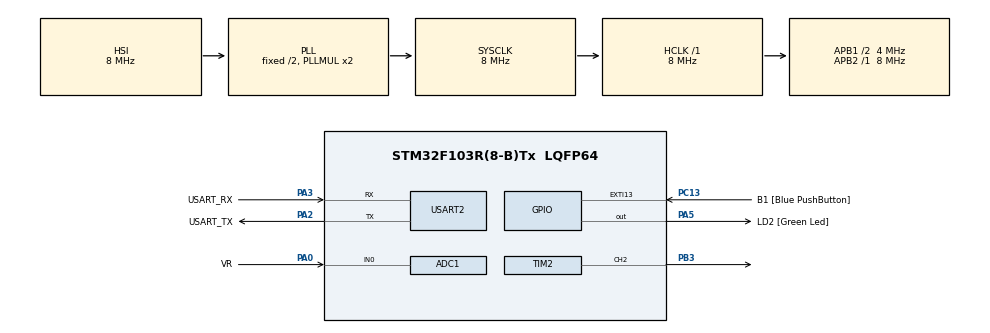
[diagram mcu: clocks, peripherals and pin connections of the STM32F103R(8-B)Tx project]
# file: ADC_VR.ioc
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ADC1.Channel-2\#ChannelRegularConversion=ADC_CHANNEL_0
ADC1.ContinuousConvMode=ENABLE
ADC1.NbrOfConversionFlag=1
ADC1.Rank-2\#ChannelRegularConversion=1
ADC1.SamplingTime-2\#ChannelRegularConversion=ADC_SAMPLETIME_13CYCLES_5
ADC1.master=1
Mcu.Family=STM32F1
Mcu.Name=STM32F103R(8-B)Tx
Mcu.Package=LQFP64
NVIC.EXTI15_10_IRQn=true\:0\:0\:false\:false\:true\:true\:true\:true
NVIC.PriorityGroup=NVIC_PRIORITYGROUP_4
PA0-WKUP.GPIO_Label=VR
PA0-WKUP.Signal=ADCx_IN0
PA13.GPIO_Label=TMS
PA13.Mode=Serial_Wire
PA13.Signal=SYS_JTMS-SWDIO
PA14.GPIO_Label=TCK
PA14.Mode=Serial_Wire
PA14.Signal=SYS_JTCK-SWCLK
PA2.GPIO_Label=USART_TX
PA2.GPIO_Mode=GPIO_MODE_AF_PP
PA2.GPIO_PuPd=GPIO_NOPULL
PA2.GPIO_Speed=GPIO_SPEED_FREQ_LOW
PA2.Mode=Asynchronous
PA2.Signal=USART2_TX
PA3.GPIO_Label=USART_RX
PA3.GPIO_Mode=GPIO_MODE_AF_PP
PA3.GPIO_PuPd=GPIO_NOPULL
PA3.GPIO_Speed=GPIO_SPEED_FREQ_LOW
PA3.Mode=Asynchronous
PA3.Signal=USART2_RX
PA5.GPIO_Label=LD2 [Green Led]
PA5.GPIO_ModeDefaultOutputPP=GPIO_MODE_OUTPUT_PP
PA5.GPIO_PuPd=GPIO_NOPULL
PA5.GPIO_Speed=GPIO_SPEED_FREQ_LOW
PA5.Signal=GPIO_Output
PB3.Signal=S_TIM2_CH2
PC13-TAMPER-RTC.GPIO_Label=B1 [Blue PushButton]
PC13-TAMPER-RTC.GPIO_PuPd=GPIO_NOPULL
PC13-TAMPER-RTC.Signal=GPXTI13
PC14-OSC32_IN.Signal=RCC_OSC32_IN
PC15-OSC32_OUT.Signal=RCC_OSC32_OUT
PD0-OSC_IN.Signal=RCC_OSC_IN
PD1-OSC_OUT.Signal=RCC_OSC_OUT
ProjectManager.HeapSize=0x200
ProjectManager.StackSize=0x400
ProjectManager.TargetToolchain=STM32CubeIDE
RCC.AHBFreq_Value=8000000
RCC.APB1CLKDivider=RCC_HCLK_DIV2
RCC.APB1Freq_Value=4000000
RCC.APB1TimFreq_Value=8000000
RCC.APB2Freq_Value=8000000
RCC.APB2TimFreq_Value=8000000
RCC.HCLKFreq_Value=8000000
RCC.RTCClockSelection=RCC_RTCCLKSOURCE_LSE
RCC.SYSCLKFreq_VALUE=8000000
RCC.SYSCLKSource=RCC_SYSCLKSOURCE_PLLCLK
RCC.USBFreq_Value=8000000
SH.ADCx_IN0.0=ADC1_IN0,IN0
SH.S_TIM2_CH2.0=TIM2_CH2,PWM Generation2 CH2
TIM2.Channel-PWM\ Generation2\ CH2=TIM_CHANNEL_2
TIM2.Period=1000-1
TIM2.Prescaler=64-1
USART2.VirtualMode=VM_ASYNC
board=NUCLEO-F103RB

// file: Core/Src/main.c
/* USER CODE BEGIN Header */
/**
  ******************************************************************************
  * @file           : main.c
  * @brief          : Main program body
  ******************************************************************************
  * @attention
  *
  * Copyright (c) 2025 STMicroelectronics.
  * All rights reserved.
  *
  * This software is licensed under terms that can be found in the LICENSE file
  * in the root directory of this software component.
  * If no LICENSE file comes with this software, it is provided AS-IS.
  *
  ******************************************************************************
  */
/* USER CODE END Header */
#include "main.h"

/* USER CODE BEGIN Includes */
#include <stdio.h>
/* USER CODE END Includes */

ADC_HandleTypeDef hadc1;

TIM_HandleTypeDef htim2;

UART_HandleTypeDef huart2;

/* USER CODE BEGIN PV */
const float AVG_SLOPE = 4.3E-03;      // slope (gradient) of temperature line function
const float V25 = 1.43;               // sensor's voltage at 25°C [V]
const float ADC_TO_VOLT = 3.3 / 4096;
char 		tx_data[50];
uint16_t	pwm1 = 0;
uint16_t 	adc1 = 0;
/* USER CODE END PV */

void SystemClock_Config(void);
static void MX_GPIO_Init(void);
static void MX_USART2_UART_Init(void);
static void MX_ADC1_Init(void);
static void MX_TIM2_Init(void);

int main(void)
{

  /* MCU Configuration--------------------------------------------------------*/

  /* Reset of all peripherals, Initializes the Flash interface and the Systick. */
  HAL_Init();

  /* Configure the system clock */
  SystemClock_Config();

  /* Initialize all configured peripherals */
  MX_GPIO_Init();
  MX_USART2_UART_Init();
  MX_ADC1_Init();
  MX_TIM2_Init();

  /* Infinite loop */
  /* USER CODE BEGIN WHILE */
  HAL_TIM_PWM_Start(&htim2, TIM_CHANNEL_2);
  /* Start calibration */
  if (HAL_ADCEx_Calibration_Start (&hadc1) != HAL_OK)
    {
      Error_Handler();
    }

  /* Start the conversion process */
  if (HAL_ADC_Start (&hadc1) != HAL_OK)
    {
      Error_Handler();
    }

  while (1)
  {
 	  if(HAL_ADC_PollForConversion (&hadc1, 100) == HAL_OK)
	  {
		  adc1 = HAL_ADC_GetValue (&hadc1);
		  sprintf(tx_data, "ADC Value : %d\r\n", adc1);
		  HAL_UART_Transmit(&huart2, tx_data, sizeof(tx_data), HAL_MAX_DELAY);

		  pwm1 = (adc1* 1000) / 4095;
		  sprintf(tx_data, "PWM Value : %d\r\n", pwm1);
		  HAL_UART_Transmit(&huart2, tx_data, sizeof(tx_data), HAL_MAX_DELAY);
		  __HAL_TIM_SET_COMPARE(&htim2, TIM_CHANNEL_2, pwm1);

		  sprintf(tx_data, "voltage Value : %d\r\n", ADC_TO_VOLT);
		  HAL_UART_Transmit(&huart2, tx_data, sizeof(tx_data), HAL_MAX_DELAY);
	  }
 	  HAL_Delay(10);
    /* USER CODE END WHILE */

  }
}

void SystemClock_Config(void)
{
  RCC_OscInitTypeDef RCC_OscInitStruct = {0};
  RCC_ClkInitTypeDef RCC_ClkInitStruct = {0};
  RCC_PeriphCLKInitTypeDef PeriphClkInit = {0};

  /** Initializes the RCC Oscillators according to the specified parameters
  * in the RCC_OscInitTypeDef structure.
  */
  RCC_OscInitStruct.OscillatorType = RCC_OSCILLATORTYPE_HSI;
  RCC_OscInitStruct.HSIState = RCC_HSI_ON;
  RCC_OscInitStruct.HSICalibrationValue = RCC_HSICALIBRATION_DEFAULT;
  RCC_OscInitStruct.PLL.PLLState = RCC_PLL_ON;
  RCC_OscInitStruct.PLL.PLLSource = RCC_PLLSOURCE_HSI_DIV2;
  RCC_OscInitStruct.PLL.PLLMUL = RCC_PLL_MUL2;
  if (HAL_RCC_OscConfig(&RCC_OscInitStruct) != HAL_OK)
  {
    Error_Handler();
  }

  /** Initializes the CPU, AHB and APB buses clocks
  */
  RCC_ClkInitStruct.ClockType = RCC_CLOCKTYPE_HCLK|RCC_CLOCKTYPE_SYSCLK
                              |RCC_CLOCKTYPE_PCLK1|RCC_CLOCKTYPE_PCLK2;
  RCC_ClkInitStruct.SYSCLKSource = RCC_SYSCLKSOURCE_PLLCLK;
  RCC_ClkInitStruct.AHBCLKDivider = RCC_SYSCLK_DIV1;
  RCC_ClkInitStruct.APB1CLKDivider = RCC_HCLK_DIV2;
  RCC_ClkInitStruct.APB2CLKDivider = RCC_HCLK_DIV1;

  if (HAL_RCC_ClockConfig(&RCC_ClkInitStruct, FLASH_LATENCY_0) != HAL_OK)
  {
    Error_Handler();
  }
  PeriphClkInit.PeriphClockSelection = RCC_PERIPHCLK_ADC;
  PeriphClkInit.AdcClockSelection = RCC_ADCPCLK2_DIV2;
  if (HAL_RCCEx_PeriphCLKConfig(&PeriphClkInit) != HAL_OK)
  {
    Error_Handler();
  }
}

static void MX_ADC1_Init(void)
{

  ADC_ChannelConfTypeDef sConfig = {0};

  /** Common config
  */
  hadc1.Instance = ADC1;
  hadc1.Init.ScanConvMode = ADC_SCAN_DISABLE;
  hadc1.Init.ContinuousConvMode = ENABLE;
  hadc1.Init.DiscontinuousConvMode = DISABLE;
  hadc1.Init.ExternalTrigConv = ADC_SOFTWARE_START;
  hadc1.Init.DataAlign = ADC_DATAALIGN_RIGHT;
  hadc1.Init.NbrOfConversion = 1;
  if (HAL_ADC_Init(&hadc1) != HAL_OK)
  {
    Error_Handler();
  }

  /** Configure Regular Channel
  */
  sConfig.Channel = ADC_CHANNEL_0;
  sConfig.Rank = ADC_REGULAR_RANK_1;
  sConfig.SamplingTime = ADC_SAMPLETIME_13CYCLES_5;
  if (HAL_ADC_ConfigChannel(&hadc1, &sConfig) != HAL_OK)
  {
    Error_Handler();
  }

}

static void MX_TIM2_Init(void)
{

  TIM_MasterConfigTypeDef sMasterConfig = {0};
  TIM_OC_InitTypeDef sConfigOC = {0};

  htim2.Instance = TIM2;
  htim2.Init.Prescaler = 64-1;
  htim2.Init.CounterMode = TIM_COUNTERMODE_UP;
  htim2.Init.Period = 1000-1;
  htim2.Init.ClockDivision = TIM_CLOCKDIVISION_DIV1;
  htim2.Init.AutoReloadPreload = TIM_AUTORELOAD_PRELOAD_DISABLE;
  if (HAL_TIM_PWM_Init(&htim2) != HAL_OK)
  {
    Error_Handler();
  }
  sMasterConfig.MasterOutputTrigger = TIM_TRGO_RESET;
  sMasterConfig.MasterSlaveMode = TIM_MASTERSLAVEMODE_DISABLE;
  if (HAL_TIMEx_MasterConfigSynchronization(&htim2, &sMasterConfig) != HAL_OK)
  {
    Error_Handler();
  }
  sConfigOC.OCMode = TIM_OCMODE_PWM1;
  sConfigOC.Pulse = 0;
  sConfigOC.OCPolarity = TIM_OCPOLARITY_HIGH;
  sConfigOC.OCFastMode = TIM_OCFAST_DISABLE;
  if (HAL_TIM_PWM_ConfigChannel(&htim2, &sConfigOC, TIM_CHANNEL_2) != HAL_OK)
  {
    Error_Handler();
  }
  HAL_TIM_MspPostInit(&htim2);

}

static void MX_USART2_UART_Init(void)
{

  huart2.Instance = USART2;
  huart2.Init.BaudRate = 115200;
  huart2.Init.WordLength = UART_WORDLENGTH_8B;
  huart2.Init.StopBits = UART_STOPBITS_1;
  huart2.Init.Parity = UART_PARITY_NONE;
  huart2.Init.Mode = UART_MODE_TX_RX;
  huart2.Init.HwFlowCtl = UART_HWCONTROL_NONE;
  huart2.Init.OverSampling = UART_OVERSAMPLING_16;
  if (HAL_UART_Init(&huart2) != HAL_OK)
  {
    Error_Handler();
  }

}

static void MX_GPIO_Init(void)
{
  GPIO_InitTypeDef GPIO_InitStruct = {0};

  /* GPIO Ports Clock Enable */
  __HAL_RCC_GPIOC_CLK_ENABLE();
  __HAL_RCC_GPIOD_CLK_ENABLE();
  __HAL_RCC_GPIOA_CLK_ENABLE();
  __HAL_RCC_GPIOB_CLK_ENABLE();

  /*Configure GPIO pin Output Level */
  HAL_GPIO_WritePin(LD2_GPIO_Port, LD2_Pin, GPIO_PIN_RESET);

  /*Configure GPIO pin : B1_Pin */
  GPIO_InitStruct.Pin = B1_Pin;
  GPIO_InitStruct.Mode = GPIO_MODE_IT_RISING;
  GPIO_InitStruct.Pull = GPIO_NOPULL;
  HAL_GPIO_Init(B1_GPIO_Port, &GPIO_InitStruct);

  /*Configure GPIO pin : LD2_Pin */
  GPIO_InitStruct.Pin = LD2_Pin;
  GPIO_InitStruct.Mode = GPIO_MODE_OUTPUT_PP;
  GPIO_InitStruct.Pull = GPIO_NOPULL;
  GPIO_InitStruct.Speed = GPIO_SPEED_FREQ_LOW;
  HAL_GPIO_Init(LD2_GPIO_Port, &GPIO_InitStruct);

  /* EXTI interrupt init*/
  HAL_NVIC_SetPriority(EXTI15_10_IRQn, 0, 0);
  HAL_NVIC_EnableIRQ(EXTI15_10_IRQn);

}

void Error_Handler(void)
{
  __disable_irq();
  while (1)
  {
  }
}
